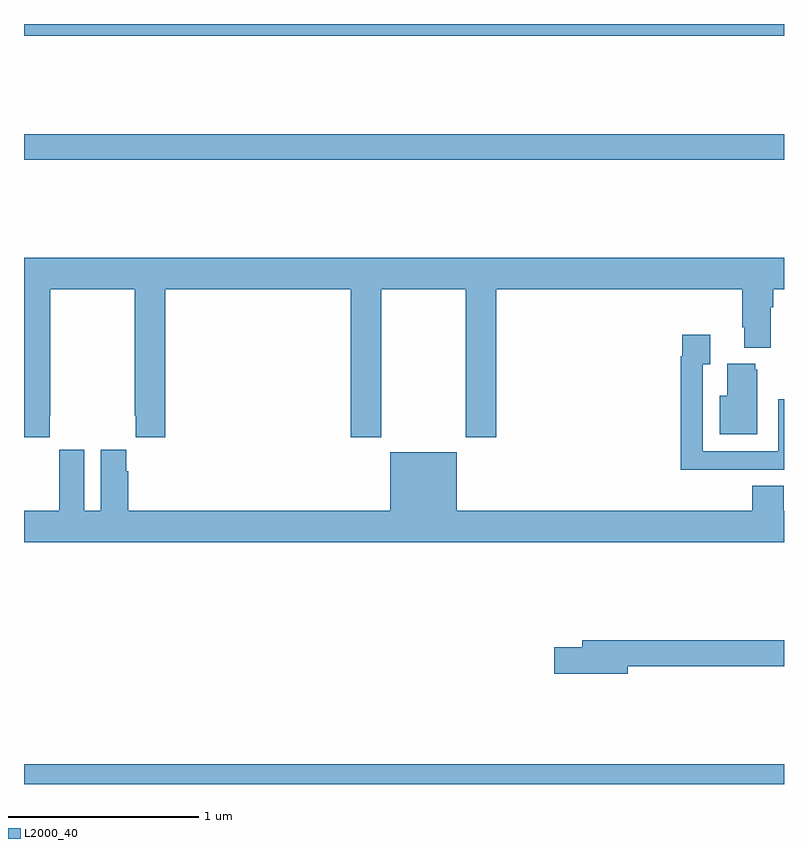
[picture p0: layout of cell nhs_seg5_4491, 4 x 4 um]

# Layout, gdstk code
import gdstk
lib = gdstk.Library(unit=1e-6, precision=1e-09)
def R(c, l, rs):  # rectangles x0, y0, x1, y1
    for r in rs: c.add(gdstk.rectangle(r[:2], r[2:], *l))
def P(c, l, *ps):  # polygons
    for p in ps: c.add(gdstk.Polygon(p, *l))
L2000_40 = (2000, 40)

nhs_seg5_4491 = lib.new_cell('nhs_seg5_4491')
R(nhs_seg5_4491, L2000_40, [(375,876.799,379,876.904), (375,880.084,379,880.22), (375,880.736,379,880.799)])
P(nhs_seg5_4491, L2000_40, [(375,878.625),(375.135,878.625),(375.135,878.737),(375.138,878.737),(375.138,879.404),(375.583,879.404),(375.583,878.737),(375.589,878.737),(375.589,878.625),(375.743,878.625),(375.743,879.404),(376.721,879.404),(376.721,878.625),(376.881,878.625),(376.881,879.404),(377.326,879.404),(377.326,878.625),(377.486,878.625),(377.486,879.404),(378.779,879.404),(378.779,879.202),(378.791,879.202),(378.791,879.095),(378.931,879.095),(378.931,879.308),(378.944,879.308),(378.944,879.404),(379,879.404),(379,879.568),(375,879.568)],
  [(378.749,878.454),(379,878.454),(379,878.824),(378.969,878.824),(378.969,878.55),(378.573,878.55),(378.573,879.007),(378.613,879.007),(378.613,879.163),(378.465,879.163),(378.465,879.05),(378.457,879.05),(378.457,878.453),(378.749,878.453)],
  [(378.859,878.979),(378.848,878.979),(378.848,879.01),(378.701,879.01),(378.701,878.842),(378.662,878.842),(378.662,878.639),(378.859,878.639)],
  [(375.404,878.557),(375.404,878.236),(375.316,878.236),(375.316,878.557),(375.186,878.557),(375.186,878.444),(375.185,878.444),(375.185,878.236),(375,878.236),(375,878.072),(379,878.072),(379,878.236),(378.998,878.236),(378.998,878.369),(378.833,878.369),(378.833,878.236),(377.278,878.236),(377.278,878.545),(376.928,878.545),(376.928,878.236),(375.548,878.236),(375.548,878.444),(375.538,878.444),(375.538,878.557)],
  [(378.178,877.42),(379,877.42),(379,877.556),(377.939,877.556),(377.939,877.52),(377.79,877.52),(377.79,877.378),(378.178,877.378)])

lib.write_gds('nhs_seg5_4491.gds')
